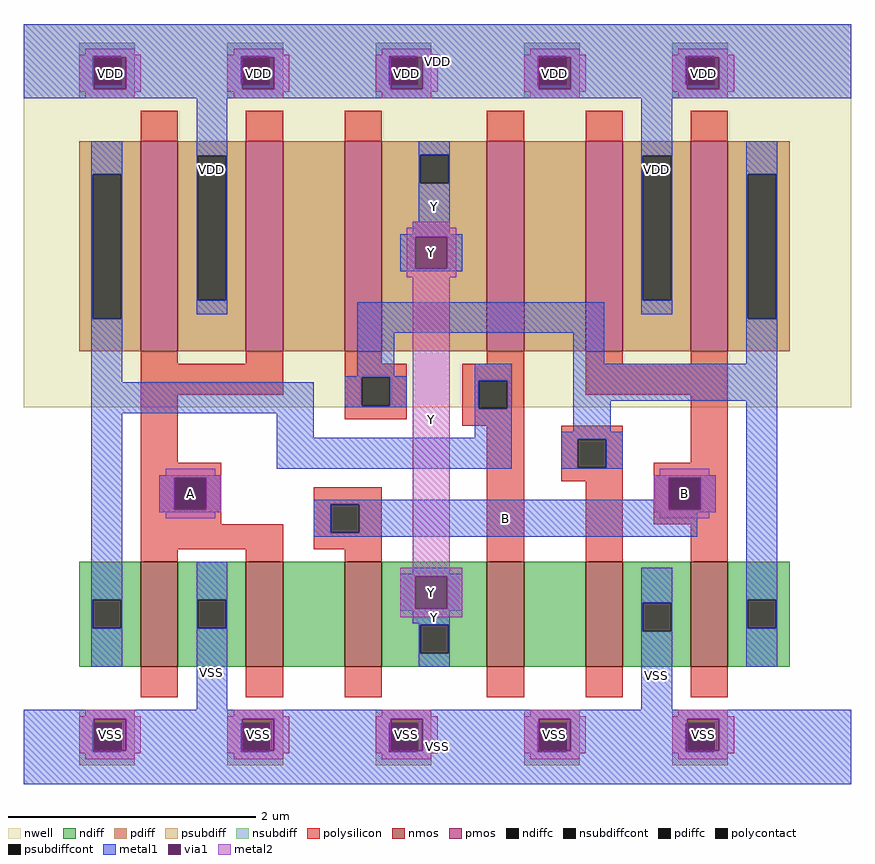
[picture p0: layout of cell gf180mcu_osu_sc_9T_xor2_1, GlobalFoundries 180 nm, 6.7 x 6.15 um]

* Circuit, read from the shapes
.subckt gf180mcu_osu_sc_9T_xor2_1 A Y B VDD VSS
XM1 VSS A n1 VSS nfet_03v3 w=0.85u l=0.3u
XM2 n2 A VSS VSS nfet_03v3 w=0.85u l=0.3u
XM3 Y B n2 VSS nfet_03v3 w=0.85u l=0.3u
XM4 n3 n1 Y VSS nfet_03v3 w=0.85u l=0.3u
XM5 VSS n4 n3 VSS nfet_03v3 w=0.85u l=0.3u
XM6 n4 B VSS VSS nfet_03v3 w=0.85u l=0.3u
XM7 VDD A n1 VDD pfet_03v3 w=1.7u l=0.3u
XM8 n5 A VDD VDD pfet_03v3 w=1.7u l=0.3u
XM9 Y n4 n5 VDD pfet_03v3 w=1.7u l=0.3u
XM10 n6 n1 Y VDD pfet_03v3 w=1.7u l=0.3u
XM11 VDD B n6 VDD pfet_03v3 w=1.7u l=0.3u
XM12 n4 B VDD VDD pfet_03v3 w=1.7u l=0.3u
.ends

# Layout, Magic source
magic
tech gf180mcuB
magscale 1 10
<< nwell >>
rect 0 610 1340 1230
<< nmos >>
rect 190 190 250 360
rect 360 190 420 360
rect 520 190 580 360
rect 750 190 810 360
rect 910 190 970 360
rect 1080 190 1140 360
<< pmos >>
rect 190 700 250 1040
rect 360 700 420 1040
rect 520 700 580 1040
rect 750 700 810 1040
rect 910 700 970 1040
rect 1080 700 1140 1040
<< ndiff >>
rect 90 298 190 360
rect 90 252 112 298
rect 158 252 190 298
rect 90 190 190 252
rect 250 298 360 360
rect 250 252 282 298
rect 328 252 360 298
rect 250 190 360 252
rect 420 190 520 360
rect 580 258 750 360
rect 580 212 642 258
rect 688 212 750 258
rect 580 190 750 212
rect 810 190 910 360
rect 970 293 1080 360
rect 970 247 1002 293
rect 1048 247 1080 293
rect 970 190 1080 247
rect 1140 298 1240 360
rect 1140 252 1172 298
rect 1218 252 1240 298
rect 1140 190 1240 252
<< pdiff >>
rect 90 987 190 1040
rect 90 753 112 987
rect 158 753 190 987
rect 90 700 190 753
rect 250 1017 360 1040
rect 250 783 282 1017
rect 328 783 360 1017
rect 250 700 360 783
rect 420 700 520 1040
rect 580 1018 750 1040
rect 580 972 642 1018
rect 688 972 750 1018
rect 580 700 750 972
rect 810 700 910 1040
rect 970 1017 1080 1040
rect 970 783 1002 1017
rect 1048 783 1080 1017
rect 970 700 1080 783
rect 1140 987 1240 1040
rect 1140 753 1172 987
rect 1218 753 1240 987
rect 1140 700 1240 753
<< ndiffc >>
rect 112 252 158 298
rect 282 252 328 298
rect 642 212 688 258
rect 1002 247 1048 293
rect 1172 252 1218 298
<< pdiffc >>
rect 112 753 158 987
rect 282 783 328 1017
rect 642 972 688 1018
rect 1002 783 1048 1017
rect 1172 753 1218 987
<< psubdiff >>
rect 90 98 180 120
rect 90 52 112 98
rect 158 52 180 98
rect 90 30 180 52
rect 330 98 420 120
rect 330 52 352 98
rect 398 52 420 98
rect 330 30 420 52
rect 570 98 660 120
rect 570 52 592 98
rect 638 52 660 98
rect 570 30 660 52
rect 810 98 900 120
rect 810 52 832 98
rect 878 52 900 98
rect 810 30 900 52
rect 1050 98 1140 120
rect 1050 52 1072 98
rect 1118 52 1140 98
rect 1050 30 1140 52
<< nsubdiff >>
rect 90 1178 180 1200
rect 90 1132 112 1178
rect 158 1132 180 1178
rect 90 1110 180 1132
rect 330 1178 420 1200
rect 330 1132 352 1178
rect 398 1132 420 1178
rect 330 1110 420 1132
rect 570 1178 660 1200
rect 570 1132 592 1178
rect 638 1132 660 1178
rect 570 1110 660 1132
rect 810 1178 900 1200
rect 810 1132 832 1178
rect 878 1132 900 1178
rect 810 1110 900 1132
rect 1050 1178 1140 1200
rect 1050 1132 1072 1178
rect 1118 1132 1140 1178
rect 1050 1110 1140 1132
<< psubdiffcont >>
rect 112 52 158 98
rect 352 52 398 98
rect 592 52 638 98
rect 832 52 878 98
rect 1072 52 1118 98
<< nsubdiffcont >>
rect 112 1132 158 1178
rect 352 1132 398 1178
rect 592 1132 638 1178
rect 832 1132 878 1178
rect 1072 1132 1118 1178
<< polysilicon >>
rect 190 1040 250 1090
rect 360 1040 420 1090
rect 520 1040 580 1090
rect 750 1040 810 1090
rect 910 1040 970 1090
rect 1080 1040 1140 1090
rect 190 680 250 700
rect 360 680 420 700
rect 190 630 420 680
rect 520 680 580 700
rect 750 680 810 700
rect 520 658 620 680
rect 190 520 250 630
rect 520 612 547 658
rect 593 612 620 658
rect 520 590 620 612
rect 710 653 810 680
rect 710 607 737 653
rect 783 607 810 653
rect 910 680 970 700
rect 1080 680 1140 700
rect 910 630 1140 680
rect 710 580 810 607
rect 190 493 320 520
rect 190 447 247 493
rect 293 447 320 493
rect 190 420 320 447
rect 470 453 580 480
rect 190 380 420 420
rect 470 407 497 453
rect 543 407 580 453
rect 470 380 580 407
rect 190 360 250 380
rect 360 360 420 380
rect 520 360 580 380
rect 750 360 810 580
rect 870 558 970 580
rect 870 512 897 558
rect 943 512 970 558
rect 1080 520 1140 630
rect 870 490 970 512
rect 910 360 970 490
rect 1020 493 1140 520
rect 1020 447 1047 493
rect 1093 447 1140 493
rect 1020 420 1140 447
rect 1080 360 1140 420
rect 190 140 250 190
rect 360 140 420 190
rect 520 140 580 190
rect 750 140 810 190
rect 910 140 970 190
rect 1080 140 1140 190
<< polycontact >>
rect 547 612 593 658
rect 737 607 783 653
rect 247 447 293 493
rect 497 407 543 453
rect 897 512 943 558
rect 1047 447 1093 493
<< metal1 >>
rect 0 1178 1340 1230
rect 0 1132 112 1178
rect 158 1176 352 1178
rect 398 1176 592 1178
rect 638 1176 832 1178
rect 878 1176 1072 1178
rect 1118 1176 1340 1178
rect 166 1132 352 1176
rect 406 1132 592 1176
rect 646 1132 832 1176
rect 886 1132 1072 1176
rect 0 1124 114 1132
rect 166 1124 354 1132
rect 406 1124 594 1132
rect 646 1124 834 1132
rect 886 1124 1074 1132
rect 1126 1124 1340 1176
rect 0 1110 1340 1124
rect 110 987 160 1040
rect 110 753 112 987
rect 158 753 160 987
rect 280 1017 330 1110
rect 280 783 282 1017
rect 328 783 330 1017
rect 640 1018 690 1040
rect 640 972 642 1018
rect 688 972 690 1018
rect 640 910 690 972
rect 630 890 690 910
rect 1000 1017 1050 1110
rect 610 886 710 890
rect 610 834 634 886
rect 686 834 710 886
rect 610 830 710 834
rect 280 760 330 783
rect 1000 783 1002 1017
rect 1048 783 1050 1017
rect 110 650 160 753
rect 540 730 940 780
rect 1000 760 1050 783
rect 1170 987 1220 1040
rect 540 660 600 730
rect 890 680 940 730
rect 1170 753 1172 987
rect 1218 753 1220 987
rect 1170 680 1220 753
rect 520 658 620 660
rect 110 600 470 650
rect 520 612 547 658
rect 593 612 620 658
rect 520 610 620 612
rect 730 653 790 680
rect 110 298 160 600
rect 410 560 470 600
rect 730 607 737 653
rect 783 607 790 653
rect 730 560 790 607
rect 890 620 1220 680
rect 890 570 950 620
rect 410 510 790 560
rect 870 558 970 570
rect 870 512 897 558
rect 943 512 970 558
rect 870 510 970 512
rect 220 496 320 500
rect 220 444 244 496
rect 296 444 320 496
rect 1020 496 1120 500
rect 1020 460 1044 496
rect 220 440 320 444
rect 470 453 1044 460
rect 470 407 497 453
rect 543 444 1044 453
rect 1096 444 1120 496
rect 543 440 1120 444
rect 543 407 1090 440
rect 470 400 1090 407
rect 110 252 112 298
rect 158 252 160 298
rect 110 190 160 252
rect 280 298 330 360
rect 630 340 690 350
rect 280 252 282 298
rect 328 252 330 298
rect 610 336 710 340
rect 610 284 634 336
rect 686 284 710 336
rect 610 280 710 284
rect 1000 293 1050 350
rect 630 260 690 280
rect 280 120 330 252
rect 640 258 690 260
rect 640 212 642 258
rect 688 212 690 258
rect 640 190 690 212
rect 1000 247 1002 293
rect 1048 247 1050 293
rect 1000 120 1050 247
rect 1170 298 1220 620
rect 1170 252 1172 298
rect 1218 252 1220 298
rect 1170 190 1220 252
rect 0 106 1340 120
rect 0 98 114 106
rect 166 98 354 106
rect 406 98 594 106
rect 646 98 834 106
rect 886 98 1074 106
rect 0 52 112 98
rect 166 54 352 98
rect 406 54 592 98
rect 646 54 832 98
rect 886 54 1072 98
rect 1126 54 1340 106
rect 158 52 352 54
rect 398 52 592 54
rect 638 52 832 54
rect 878 52 1072 54
rect 1118 52 1340 54
rect 0 0 1340 52
<< via1 >>
rect 114 1132 158 1176
rect 158 1132 166 1176
rect 354 1132 398 1176
rect 398 1132 406 1176
rect 594 1132 638 1176
rect 638 1132 646 1176
rect 834 1132 878 1176
rect 878 1132 886 1176
rect 1074 1132 1118 1176
rect 1118 1132 1126 1176
rect 114 1124 166 1132
rect 354 1124 406 1132
rect 594 1124 646 1132
rect 834 1124 886 1132
rect 1074 1124 1126 1132
rect 634 834 686 886
rect 244 493 296 496
rect 244 447 247 493
rect 247 447 293 493
rect 293 447 296 493
rect 244 444 296 447
rect 1044 493 1096 496
rect 1044 447 1047 493
rect 1047 447 1093 493
rect 1093 447 1096 493
rect 1044 444 1096 447
rect 634 284 686 336
rect 114 98 166 106
rect 354 98 406 106
rect 594 98 646 106
rect 834 98 886 106
rect 1074 98 1126 106
rect 114 54 158 98
rect 158 54 166 98
rect 354 54 398 98
rect 398 54 406 98
rect 594 54 638 98
rect 638 54 646 98
rect 834 54 878 98
rect 878 54 886 98
rect 1074 54 1118 98
rect 1118 54 1126 98
<< metal2 >>
rect 100 1180 180 1190
rect 340 1180 420 1190
rect 580 1180 660 1190
rect 820 1180 900 1190
rect 1060 1180 1140 1190
rect 90 1176 190 1180
rect 90 1124 114 1176
rect 166 1124 190 1176
rect 90 1120 190 1124
rect 330 1176 430 1180
rect 330 1124 354 1176
rect 406 1124 430 1176
rect 330 1120 430 1124
rect 570 1176 670 1180
rect 570 1124 594 1176
rect 646 1124 670 1176
rect 570 1120 670 1124
rect 810 1176 910 1180
rect 810 1124 834 1176
rect 886 1124 910 1176
rect 810 1120 910 1124
rect 1050 1176 1150 1180
rect 1050 1124 1074 1176
rect 1126 1124 1150 1176
rect 1050 1120 1150 1124
rect 100 1110 180 1120
rect 340 1110 420 1120
rect 580 1110 660 1120
rect 820 1110 900 1120
rect 1060 1110 1140 1120
rect 630 900 690 910
rect 620 886 700 900
rect 620 834 634 886
rect 686 834 700 886
rect 620 820 700 834
rect 230 500 310 510
rect 220 496 320 500
rect 220 444 244 496
rect 296 444 320 496
rect 220 440 320 444
rect 230 430 310 440
rect 630 350 690 820
rect 1030 500 1110 510
rect 1020 496 1120 500
rect 1020 444 1044 496
rect 1096 444 1120 496
rect 1020 440 1120 444
rect 1030 430 1110 440
rect 610 336 710 350
rect 610 284 634 336
rect 686 284 710 336
rect 610 270 710 284
rect 100 110 180 120
rect 340 110 420 120
rect 580 110 660 120
rect 820 110 900 120
rect 1060 110 1140 120
rect 90 106 190 110
rect 90 54 114 106
rect 166 54 190 106
rect 90 50 190 54
rect 330 106 430 110
rect 330 54 354 106
rect 406 54 430 106
rect 330 50 430 54
rect 570 106 670 110
rect 570 54 594 106
rect 646 54 670 106
rect 570 50 670 54
rect 810 106 910 110
rect 810 54 834 106
rect 886 54 910 106
rect 810 50 910 54
rect 1050 106 1150 110
rect 1050 54 1074 106
rect 1126 54 1150 106
rect 1050 50 1150 54
rect 100 40 180 50
rect 340 40 420 50
rect 580 40 660 50
rect 820 40 900 50
rect 1060 40 1140 50
<< labels >>
rlabel metal2 s 100 1110 180 1190 4 VDD
port 8 nsew power bidirectional abutment
rlabel metal2 s 100 40 180 120 4 VSS
port 9 nsew ground bidirectional
rlabel metal2 s 230 430 310 510 4 A
port 1 nsew signal input
rlabel metal2 s 630 270 690 910 4 Y
port 2 nsew signal output
rlabel metal2 s 1030 430 1110 510 4 B
port 3 nsew signal input
rlabel metal2 s 220 440 320 500 1 A
port 1 nsew signal input
rlabel metal1 s 220 440 320 500 1 A
port 1 nsew signal input
rlabel metal2 s 1020 440 1120 500 1 B
port 3 nsew signal input
rlabel metal1 s 470 400 1090 460 1 B
port 3 nsew signal input
rlabel metal1 s 1020 440 1120 500 1 B
port 3 nsew signal input
rlabel metal2 s 90 1120 190 1180 1 VDD
port 8 nsew power bidirectional abutment
rlabel metal2 s 340 1110 420 1190 1 VDD
port 8 nsew power bidirectional abutment
rlabel metal2 s 330 1120 430 1180 1 VDD
port 8 nsew power bidirectional abutment
rlabel metal2 s 580 1110 660 1190 1 VDD
port 8 nsew power bidirectional abutment
rlabel metal2 s 570 1120 670 1180 1 VDD
port 8 nsew power bidirectional abutment
rlabel metal2 s 820 1110 900 1190 1 VDD
port 8 nsew power bidirectional abutment
rlabel metal2 s 810 1120 910 1180 1 VDD
port 8 nsew power bidirectional abutment
rlabel metal2 s 1060 1110 1140 1190 1 VDD
port 8 nsew power bidirectional abutment
rlabel metal2 s 1050 1120 1150 1180 1 VDD
port 8 nsew power bidirectional abutment
rlabel metal1 s 280 760 330 1230 1 VDD
port 8 nsew power bidirectional abutment
rlabel metal1 s 1000 760 1050 1230 1 VDD
port 8 nsew power bidirectional abutment
rlabel metal1 s 0 1110 1340 1230 1 VDD
port 8 nsew power bidirectional abutment
rlabel metal2 s 90 50 190 110 1 VSS
port 9 nsew ground bidirectional
rlabel metal2 s 340 40 420 120 1 VSS
port 9 nsew ground bidirectional
rlabel metal2 s 330 50 430 110 1 VSS
port 9 nsew ground bidirectional
rlabel metal2 s 580 40 660 120 1 VSS
port 9 nsew ground bidirectional
rlabel metal2 s 570 50 670 110 1 VSS
port 9 nsew ground bidirectional
rlabel metal2 s 820 40 900 120 1 VSS
port 9 nsew ground bidirectional
rlabel metal2 s 810 50 910 110 1 VSS
port 9 nsew ground bidirectional
rlabel metal2 s 1060 40 1140 120 1 VSS
port 9 nsew ground bidirectional
rlabel metal2 s 1050 50 1150 110 1 VSS
port 9 nsew ground bidirectional
rlabel metal1 s 280 0 330 360 1 VSS
port 9 nsew ground bidirectional
rlabel metal1 s 1000 0 1050 350 1 VSS
port 9 nsew ground bidirectional
rlabel metal1 s 0 0 1340 120 1 VSS
port 9 nsew ground bidirectional
rlabel metal2 s 620 820 700 900 1 Y
port 2 nsew signal output
rlabel metal2 s 610 270 710 350 1 Y
port 2 nsew signal output
rlabel metal1 s 630 830 690 910 1 Y
port 2 nsew signal output
rlabel metal1 s 640 830 690 1040 1 Y
port 2 nsew signal output
rlabel metal1 s 610 830 710 890 1 Y
port 2 nsew signal output
rlabel metal1 s 640 190 690 350 1 Y
port 2 nsew signal output
rlabel metal1 s 630 260 690 350 1 Y
port 2 nsew signal output
rlabel metal1 s 610 280 710 340 1 Y
port 2 nsew signal output
<< properties >>
string FIXED_BBOX 0 0 1340 1230
string GDS_END 467820
string GDS_FILE $PDKPATH/libs.ref/gf180mcu_osu_sc_9T/gds/gf180mcu_osu_sc_9T.gds
string GDS_START 456294
string LEFclass CORE
string LEFsite GF018hv5v_mcu_sc7
string LEFsymmetry X Y
<< end >>
